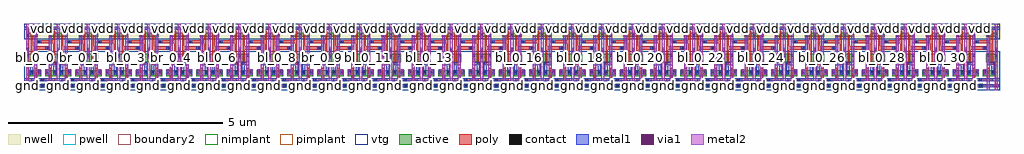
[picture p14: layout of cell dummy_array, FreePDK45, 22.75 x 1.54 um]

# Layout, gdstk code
import gdstk
lib = gdstk.Library(unit=1e-6, precision=5e-10)
def R(c, l, rs):  # rectangles x0, y0, x1, y1
    for r in rs: c.add(gdstk.rectangle(r[:2], r[2:], *l))
def A(c, l, x, y, w, h, nx, ny, dx, dy):  # array of equal rectangles
    R(c, l, [(x+i*dx, y+j*dy, x+i*dx+w, y+j*dy+h) for i in range(nx) for j in range(ny)])
active = (1, 0)
pwell = (2, 0)
nwell = (3, 0)
nimplant = (4, 0)
pimplant = (5, 0)
vtg = (6, 0)
poly = (9, 0)
contact = (10, 0)
metal1 = (11, 0)
via1 = (12, 0)
metal2 = (13, 0)
boundary2 = (239, 0)

dummy_cell_1rw = lib.new_cell('dummy_cell_1rw')
R(dummy_cell_1rw, active, [(0.3025,-0.045,0.3925,0.045), (0.3025,-0.045,0.3925,0.045), (0.045,0.2275,0.305,0.3625), (0.045,0.2275,0.12,0.3625), (0.045,0.2275,0.12,0.3625), (0.23,0.2275,0.305,0.3625), (0.23,0.2275,0.305,0.3625), (0.4,0.2275,0.66,0.3625), (0.4,0.2275,0.475,0.3625), (0.4,0.2275,0.475,0.3625), (0.585,0.2275,0.66,0.3625), (0.585,0.2275,0.66,0.3625), (0.045,0.2875,0.12,0.3625), (0.23,0.2875,0.305,0.3625), (0.4,0.2875,0.475,0.3625), (0.585,0.2875,0.66,0.3625), (-0.0375,0.5475,0.225,0.7525), (-0.0375,0.5475,0.04,0.7525), (-0.0375,0.5475,0.04,0.7525), (0.15,0.5475,0.225,0.7525), (0.15,0.5475,0.225,0.7525), (0.48,0.5475,0.7425,0.7525), (0.48,0.5475,0.555,0.7525), (0.48,0.5475,0.555,0.7525), (0.665,0.5475,0.7425,0.7525), (0.665,0.5475,0.7425,0.7525), (-0.0375,0.6775,0.0375,0.7525), (0.15,0.6775,0.225,0.7525), (0.48,0.6775,0.555,0.7525), (0.6675,0.6775,0.7425,0.7525), (-0.0375,1.1425,0.225,1.2325), (-0.0375,1.1425,0.04,1.2325), (-0.0375,1.1425,0.04,1.2325), (-0.0375,1.1425,0.04,1.2175), (0.15,1.1425,0.225,1.2175), (0.15,1.1425,0.225,1.2325), (0.15,1.1425,0.225,1.2325), (0.48,1.1425,0.555,1.2175), (0.48,1.1425,0.7425,1.2325), (0.48,1.1425,0.555,1.2325), (0.48,1.1425,0.555,1.2325), (0.665,1.1425,0.7425,1.2325), (0.665,1.1425,0.7425,1.2325), (0.6675,1.1425,0.7425,1.2175), (0.3025,1.3,0.3925,1.39), (0.3025,1.3,0.3925,1.39)])
R(dummy_cell_1rw, pwell, [(-0.0925,-0.1,0.7975,0.8075), (0.2475,-0.1,0.4475,0.1), (0.2475,-0.1,0.4475,0.1), (-0.01,0.1725,0.36,0.4175), (0.345,0.1725,0.715,0.4175), (-0.0925,0.4925,0.28,0.8075), (0.425,0.4925,0.7975,0.8075)])
R(dummy_cell_1rw, nwell, [(-0.0925,1.0875,0.28,1.2875), (-0.0925,1.0875,0.7975,1.445), (0.425,1.0875,0.7975,1.2875), (0.2475,1.245,0.4475,1.445), (0.2475,1.245,0.4475,1.445)])
R(dummy_cell_1rw, nimplant, [(0.045,0.2275,0.305,0.3625), (0.4,0.2275,0.66,0.3625), (-0.035,0.5475,0.225,0.7525), (0.48,0.5475,0.74,0.7525), (0.3025,1.3,0.3925,1.39), (0.3025,1.3,0.3925,1.39)])
R(dummy_cell_1rw, pimplant, [(0.3025,-0.045,0.3925,0.045), (-0.035,1.1425,0.225,1.2325), (0.48,1.1425,0.74,1.2325)])
R(dummy_cell_1rw, vtg, [(-0.09,-0.1,0.795,0.8075), (-0.01,0.1725,0.36,0.4175), (0.345,0.1725,0.715,0.4175), (-0.09,0.4925,0.28,0.8075), (0.425,0.4925,0.795,0.8075), (-0.09,1.0875,0.28,1.2875), (-0.09,1.0875,0.795,1.445), (0.425,1.0875,0.795,1.2875)])
R(dummy_cell_1rw, poly, [(0.07,0.1025,0.635,0.1775), (0.2975,0.1025,0.3725,0.1775), (0.15,0.1725,0.2,0.2275), (0.15,0.1725,0.2,0.4175), (0.505,0.1725,0.555,0.2275), (0.505,0.1725,0.555,0.4175), (0.15,0.3625,0.2,0.4175), (0.505,0.3625,0.555,0.4175), (0.07,0.4925,0.12,0.5475), (0.07,0.4925,0.12,0.8075), (0.585,0.4925,0.635,0.5475), (0.585,0.4925,0.635,0.8075), (0.07,0.7525,0.12,0.8075), (0.585,0.7525,0.635,0.8075), (0.07,0.8075,0.12,1.0875), (0.07,0.8075,0.12,1.0875), (0.585,0.8075,0.635,1.0875), (0.585,0.8075,0.635,1.0875), (0.07,0.8425,0.5025,0.9175), (0.4275,0.8425,0.5025,0.9175), (0.4275,0.8425,0.5025,0.9175), (0.2025,0.9925,0.2775,1.0675), (0.2025,0.9925,0.2775,1.0675), (0.2025,0.9925,0.635,1.0675), (0.07,1.0875,0.12,1.1425), (0.07,1.0875,0.12,1.2875), (0.585,1.0875,0.635,1.1425), (0.585,1.0875,0.635,1.2875), (0.07,1.2325,0.12,1.2875), (0.585,1.2325,0.635,1.2875)])
R(dummy_cell_1rw, contact, [(0.3175,-0.0325,0.3825,0.0325), (0.3175,-0.0325,0.3825,0.0325), (0.3025,0.1075,0.3675,0.1725), (0.05,0.2925,0.115,0.3575), (0.235,0.2925,0.3,0.3575), (0.405,0.2925,0.47,0.3575), (0.59,0.2925,0.655,0.3575), (-0.0325,0.6825,0.0325,0.7475), (0.155,0.6825,0.22,0.7475), (0.485,0.6825,0.55,0.7475), (0.6725,0.6825,0.7375,0.7475), (0.4325,0.8475,0.4975,0.9125), (0.4325,0.8475,0.4975,0.9125), (0.2075,0.9975,0.2725,1.0625), (0.2075,0.9975,0.2725,1.0625), (-0.0325,1.1475,0.0325,1.2125), (0.155,1.1475,0.22,1.2125), (0.485,1.1475,0.55,1.2125), (0.6725,1.1475,0.7375,1.2125), (0.315,1.3125,0.38,1.3775)])
R(dummy_cell_1rw, metal1, [(-0.09,-0.0325,0.795,0.0325), (-0.0675,-0.0325,0.0675,0.0325), (-0.0675,-0.0325,0.0675,0.0325), (0.285,-0.0325,0.42,0.0325), (0.285,-0.0325,0.42,0.0325), (0.6375,-0.0325,0.7725,0.0325), (0.6375,-0.0325,0.7725,0.0325), (0.6375,-0.0325,0.7725,0.0325), (0.6375,-0.0325,0.7725,0.0325), (-0.09,0.1075,0.795,0.1725), (-0.09,0.1075,0.795,0.1725), (-0.09,0.1075,0.795,0.1725), (0.2675,0.1075,0.4025,0.1725), (-0.085,0.11,-0.0325,0.1725), (0.62,0.11,0.6725,0.1725), (0.05,0.2575,0.115,0.3925), (0.05,0.2575,0.12,0.5475), (0.2225,0.2575,0.2875,0.3925), (0.235,0.2575,0.3,0.3925), (0.405,0.2575,0.47,0.3925), (0.4175,0.2575,0.4825,0.3925), (0.59,0.2575,0.655,0.3925), (0.59,0.2575,0.66,0.5475), (0.05,0.4825,0.22,0.5475), (0.155,0.4825,0.22,1.2225), (0.485,0.4825,0.66,0.5475), (0.485,0.4825,0.55,1.1125), (-0.035,0.6475,0.035,0.7825), (-0.035,0.6475,0.035,0.7825), (-0.03,0.6475,0.035,0.7825), (0.155,0.6475,0.22,0.7825), (0.485,0.6475,0.55,0.7825), (0.67,0.6475,0.735,0.7825), (0.67,0.6475,0.74,0.7825), (0.67,0.6475,0.74,0.7825), (0.67,0.6475,0.74,0.7825), (0.67,0.6475,0.74,0.7825), (0.67,0.6475,0.74,0.7825), (0.67,0.6475,0.74,0.7825), (-0.0325,0.75,0.0325,0.885), (-0.0325,0.75,0.0325,0.885), (-0.0325,0.75,0.0325,0.885), (-0.0325,0.75,0.0325,0.885), (-0.0325,0.75,0.0325,0.885), (-0.0325,0.75,0.0325,0.885), (0.6725,0.75,0.7375,0.885), (0.6725,0.75,0.7375,0.885), (0.6725,0.75,0.7375,0.885), (0.6725,0.75,0.7375,0.885), (0.6725,0.75,0.7375,0.885), (0.6725,0.75,0.7375,0.885), (0.6725,0.75,0.7375,0.885), (0.6725,0.75,0.7375,0.885), (0.6725,0.75,0.7375,0.885), (0.6725,0.75,0.7375,0.885), (0.6725,0.75,0.7375,0.885), (0.6725,0.75,0.7375,0.885), (0.6725,0.75,0.7375,0.885), (0.6725,0.75,0.7375,0.885), (0.6725,0.75,0.7375,0.885), (0.6725,0.75,0.7375,0.885), (0.6725,0.75,0.7375,0.885), (0.6725,0.75,0.7375,0.885), (0.6725,0.75,0.7375,0.885), (0.6725,0.75,0.7375,0.885), (0.6725,0.75,0.7375,0.885), (0.6725,0.75,0.7375,0.885), (0.6725,0.75,0.7375,0.885), (0.6725,0.75,0.7375,0.885), (0.3975,0.8475,0.5325,0.9125), (0.3975,0.8475,0.5325,0.9125), (0.1725,0.9975,0.3075,1.0625), (0.1725,0.9975,0.3075,1.0625), (-0.035,1.1125,0.035,1.3125), (-0.03,1.1125,0.035,1.2475), (0.155,1.1125,0.22,1.2475), (0.485,1.1125,0.55,1.2475), (0.67,1.1125,0.735,1.2475), (0.67,1.1125,0.74,1.3125), (0.67,1.1125,0.74,1.3125), (-0.09,1.3125,0.795,1.3775)])
R(dummy_cell_1rw, via1, [(-0.0325,-0.0325,0.0325,0.0325), (-0.0325,-0.0325,0.0325,0.0325), (0.6725,-0.0325,0.7375,0.0325), (0.6725,-0.0325,0.7375,0.0325), (0.6725,-0.0325,0.7375,0.0325), (0.6725,-0.0325,0.7375,0.0325), (-0.0325,0.785,0.0325,0.85), (-0.0325,0.785,0.0325,0.85), (-0.0325,0.785,0.0325,0.85), (-0.0325,0.785,0.0325,0.85), (-0.0325,0.785,0.0325,0.85), (-0.0325,0.785,0.0325,0.85), (0.6725,0.785,0.7375,0.85), (0.6725,0.785,0.7375,0.85), (0.6725,0.785,0.7375,0.85), (0.6725,0.785,0.7375,0.85), (0.6725,0.785,0.7375,0.85), (0.6725,0.785,0.7375,0.85), (0.6725,0.785,0.7375,0.85), (0.6725,0.785,0.7375,0.85), (0.6725,0.785,0.7375,0.85), (0.6725,0.785,0.7375,0.85), (0.6725,0.785,0.7375,0.85), (0.6725,0.785,0.7375,0.85), (0.6725,0.785,0.7375,0.85), (0.6725,0.785,0.7375,0.85), (0.6725,0.785,0.7375,0.85), (0.6725,0.785,0.7375,0.85), (0.6725,0.785,0.7375,0.85), (0.6725,0.785,0.7375,0.85), (0.6725,0.785,0.7375,0.85), (0.6725,0.785,0.7375,0.85), (0.6725,0.785,0.7375,0.85), (0.6725,0.785,0.7375,0.85), (0.6725,0.785,0.7375,0.85), (0.6725,0.785,0.7375,0.85), (0.315,1.3125,0.38,1.3775)])
R(dummy_cell_1rw, metal2, [(-0.035,-0.1,0.035,1.445), (0.15,-0.1,0.22,1.445), (0.15,-0.1,0.22,1.445), (0.15,-0.1,0.22,1.445), (0.485,-0.1,0.555,1.445), (0.485,-0.1,0.555,1.445), (0.485,-0.1,0.555,1.445), (0.67,-0.1,0.74,1.445), (-0.0675,-0.035,0.0675,0.035), (-0.0675,-0.035,0.0675,0.035), (-0.0675,-0.035,0.0675,0.035), (-0.0675,-0.035,0.0675,0.035), (0.6375,-0.035,0.7725,0.035), (0.6375,-0.035,0.7725,0.035), (0.6375,-0.035,0.7725,0.035), (0.6375,-0.035,0.7725,0.035), (0.4925,-0.0325,0.55,0.0275), (0.67,-0.0325,0.74,1.3775), (-0.03,-0.03,0.03,0.0275), (0.1575,-0.025,0.2125,0.0275), (0.675,-0.025,0.735,0.0325), (0.22,0.2575,0.29,0.3925), (0.415,0.2575,0.485,0.3925), (-0.035,0.75,0.035,0.885), (-0.035,0.75,0.035,0.885), (-0.035,0.75,0.035,0.885), (-0.035,0.75,0.035,0.885), (-0.035,0.75,0.035,0.885), (-0.035,0.75,0.035,0.885), (0.67,0.75,0.74,0.885), (0.67,0.75,0.74,0.885), (0.67,0.75,0.74,0.885), (0.67,0.75,0.74,0.885), (0.67,0.75,0.74,0.885), (0.67,0.75,0.74,0.885), (0.67,0.75,0.74,0.885), (0.67,0.75,0.74,0.885), (0.67,0.75,0.74,0.885), (0.67,0.75,0.74,0.885), (0.67,0.75,0.74,0.885), (0.67,0.75,0.74,0.885), (0.67,0.75,0.74,0.885), (0.67,0.75,0.74,0.885), (0.67,0.75,0.74,0.885), (0.67,0.75,0.74,0.885), (0.67,0.75,0.74,0.885), (0.67,0.75,0.74,0.885), (0.67,0.75,0.74,0.885), (0.67,0.75,0.74,0.885), (0.67,0.75,0.74,0.885), (0.67,0.75,0.74,0.885), (0.67,0.75,0.74,0.885), (0.67,0.75,0.74,0.885), (0.3125,1.2775,0.3825,1.4125), (0.3125,1.2775,0.3825,1.4125), (0.3125,1.2775,0.3825,1.4125)])
R(dummy_cell_1rw, boundary2, [(0,0,0.705,1.345)])
dummy_cell_1rw.add(gdstk.Label('vdd', (0.368,1.355), layer=13, texttype=0))
dummy_cell_1rw.add(gdstk.Label('gnd', (-0.0475,0.015), layer=13, texttype=0))
dummy_cell_1rw.add(gdstk.Label('br', (0.52,0.003), layer=13, texttype=0))
dummy_cell_1rw.add(gdstk.Label('bl', (0.19,0.003), layer=13, texttype=0))
dummy_cell_1rw.add(gdstk.Label('bl', (0.185,0.6725), layer=13, texttype=0))
dummy_cell_1rw.add(gdstk.Label('br', (0.52,0.6725), layer=13, texttype=0))
dummy_cell_1rw.add(gdstk.Label('vdd', (0.3475,1.345), layer=13, texttype=0))
dummy_cell_1rw.add(gdstk.Label('gnd', (0,0), layer=13, texttype=0))
dummy_cell_1rw.add(gdstk.Label('wl', (-0.05,0.147), layer=11, texttype=0))
dummy_cell_1rw.add(gdstk.Label('wl', (0.3525,0.14), layer=11, texttype=0))

dummy_array = lib.new_cell('dummy_array')
R(dummy_array, metal1, [(0,0.1075,22.56,0.1725)])
A(dummy_array, metal2, -0.0675, -0.035, 0.135, 0.07, 32, 1, 0.705, 0)
A(dummy_array, metal2, 0.3125, 1.2775, 0.07, 0.135, 32, 1, 0.705, 0)
R(dummy_array, metal2, [(0.15,0,0.22,1.345), (0.485,0,0.555,1.345), (0.855,0,0.925,1.345), (1.19,0,1.26,1.345), (1.56,0,1.63,1.345), (1.895,0,1.965,1.345), (2.265,0,2.335,1.345), (2.6,0,2.67,1.345), (2.97,0,3.04,1.345), (3.305,0,3.375,1.345), (3.675,0,3.745,1.345), (4.01,0,4.08,1.345), (4.38,0,4.45,1.345), (4.715,0,4.785,1.345), (5.085,0,5.155,1.345), (5.42,0,5.49,1.345), (5.79,0,5.86,1.345), (6.125,0,6.195,1.345), (6.495,0,6.565,1.345), (6.83,0,6.9,1.345), (7.2,0,7.27,1.345), (7.535,0,7.605,1.345), (7.905,0,7.975,1.345), (8.24,0,8.31,1.345), (8.61,0,8.68,1.345), (8.945,0,9.015,1.345), (9.315,0,9.385,1.345), (9.65,0,9.72,1.345), (10.02,0,10.09,1.345), (10.355,0,10.425,1.345), (10.725,0,10.795,1.345), (11.06,0,11.13,1.345), (11.43,0,11.5,1.345), (11.765,0,11.835,1.345), (12.135,0,12.205,1.345), (12.47,0,12.54,1.345), (12.84,0,12.91,1.345), (13.175,0,13.245,1.345), (13.545,0,13.615,1.345), (13.88,0,13.95,1.345), (14.25,0,14.32,1.345), (14.585,0,14.655,1.345), (14.955,0,15.025,1.345), (15.29,0,15.36,1.345), (15.66,0,15.73,1.345), (15.995,0,16.065,1.345), (16.365,0,16.435,1.345), (16.7,0,16.77,1.345), (17.07,0,17.14,1.345), (17.405,0,17.475,1.345), (17.775,0,17.845,1.345), (18.11,0,18.18,1.345), (18.48,0,18.55,1.345), (18.815,0,18.885,1.345), (19.185,0,19.255,1.345), (19.52,0,19.59,1.345), (19.89,0,19.96,1.345), (20.225,0,20.295,1.345), (20.595,0,20.665,1.345), (20.93,0,21,1.345), (21.3,0,21.37,1.345), (21.635,0,21.705,1.345), (22.005,0,22.075,1.345), (22.34,0,22.41,1.345)])
R(dummy_array, boundary2, [(0,0,22.56,1.345)])
dummy_array.add(gdstk.Reference(dummy_cell_1rw, (0,0)))
dummy_array.add(gdstk.Reference(dummy_cell_1rw, (0.705,0)))
dummy_array.add(gdstk.Reference(dummy_cell_1rw, (1.41,0)))
dummy_array.add(gdstk.Reference(dummy_cell_1rw, (2.115,0)))
dummy_array.add(gdstk.Reference(dummy_cell_1rw, (2.82,0)))
dummy_array.add(gdstk.Reference(dummy_cell_1rw, (3.525,0)))
dummy_array.add(gdstk.Reference(dummy_cell_1rw, (4.23,0)))
dummy_array.add(gdstk.Reference(dummy_cell_1rw, (4.935,0)))
dummy_array.add(gdstk.Reference(dummy_cell_1rw, (5.64,0)))
dummy_array.add(gdstk.Reference(dummy_cell_1rw, (6.345,0)))
dummy_array.add(gdstk.Reference(dummy_cell_1rw, (7.05,0)))
dummy_array.add(gdstk.Reference(dummy_cell_1rw, (7.755,0)))
dummy_array.add(gdstk.Reference(dummy_cell_1rw, (8.46,0)))
dummy_array.add(gdstk.Reference(dummy_cell_1rw, (9.165,0)))
dummy_array.add(gdstk.Reference(dummy_cell_1rw, (9.87,0)))
dummy_array.add(gdstk.Reference(dummy_cell_1rw, (10.575,0)))
dummy_array.add(gdstk.Reference(dummy_cell_1rw, (11.28,0)))
dummy_array.add(gdstk.Reference(dummy_cell_1rw, (11.985,0)))
dummy_array.add(gdstk.Reference(dummy_cell_1rw, (12.69,0)))
dummy_array.add(gdstk.Reference(dummy_cell_1rw, (13.395,0)))
dummy_array.add(gdstk.Reference(dummy_cell_1rw, (14.1,0)))
dummy_array.add(gdstk.Reference(dummy_cell_1rw, (14.805,0)))
dummy_array.add(gdstk.Reference(dummy_cell_1rw, (15.51,0)))
dummy_array.add(gdstk.Reference(dummy_cell_1rw, (16.215,0)))
dummy_array.add(gdstk.Reference(dummy_cell_1rw, (16.92,0)))
dummy_array.add(gdstk.Reference(dummy_cell_1rw, (17.625,0)))
dummy_array.add(gdstk.Reference(dummy_cell_1rw, (18.33,0)))
dummy_array.add(gdstk.Reference(dummy_cell_1rw, (19.035,0)))
dummy_array.add(gdstk.Reference(dummy_cell_1rw, (19.74,0)))
dummy_array.add(gdstk.Reference(dummy_cell_1rw, (20.445,0)))
dummy_array.add(gdstk.Reference(dummy_cell_1rw, (21.15,0)))
dummy_array.add(gdstk.Reference(dummy_cell_1rw, (21.855,0)))
dummy_array.add(gdstk.Label('bl_0_16', (11.465,0.6725), layer=13, texttype=0))
dummy_array.add(gdstk.Label('br_0_16', (11.8,0.6725), layer=13, texttype=0))
dummy_array.add(gdstk.Label('bl_0_17', (12.17,0.6725), layer=13, texttype=0))
dummy_array.add(gdstk.Label('br_0_17', (12.505,0.6725), layer=13, texttype=0))
dummy_array.add(gdstk.Label('bl_0_18', (12.875,0.6725), layer=13, texttype=0))
dummy_array.add(gdstk.Label('br_0_18', (13.21,0.6725), layer=13, texttype=0))
dummy_array.add(gdstk.Label('bl_0_19', (13.58,0.6725), layer=13, texttype=0))
dummy_array.add(gdstk.Label('br_0_19', (13.915,0.6725), layer=13, texttype=0))
dummy_array.add(gdstk.Label('bl_0_20', (14.285,0.6725), layer=13, texttype=0))
dummy_array.add(gdstk.Label('br_0_20', (14.62,0.6725), layer=13, texttype=0))
dummy_array.add(gdstk.Label('bl_0_21', (14.99,0.6725), layer=13, texttype=0))
dummy_array.add(gdstk.Label('br_0_21', (15.325,0.6725), layer=13, texttype=0))
dummy_array.add(gdstk.Label('bl_0_22', (15.695,0.6725), layer=13, texttype=0))
dummy_array.add(gdstk.Label('br_0_22', (16.03,0.6725), layer=13, texttype=0))
dummy_array.add(gdstk.Label('bl_0_23', (16.4,0.6725), layer=13, texttype=0))
dummy_array.add(gdstk.Label('br_0_23', (16.735,0.6725), layer=13, texttype=0))
dummy_array.add(gdstk.Label('bl_0_24', (17.105,0.6725), layer=13, texttype=0))
dummy_array.add(gdstk.Label('br_0_24', (17.44,0.6725), layer=13, texttype=0))
dummy_array.add(gdstk.Label('bl_0_25', (17.81,0.6725), layer=13, texttype=0))
dummy_array.add(gdstk.Label('br_0_25', (18.145,0.6725), layer=13, texttype=0))
dummy_array.add(gdstk.Label('bl_0_26', (18.515,0.6725), layer=13, texttype=0))
dummy_array.add(gdstk.Label('br_0_26', (18.85,0.6725), layer=13, texttype=0))
dummy_array.add(gdstk.Label('bl_0_27', (19.22,0.6725), layer=13, texttype=0))
dummy_array.add(gdstk.Label('br_0_27', (19.555,0.6725), layer=13, texttype=0))
dummy_array.add(gdstk.Label('bl_0_28', (19.925,0.6725), layer=13, texttype=0))
dummy_array.add(gdstk.Label('br_0_28', (20.26,0.6725), layer=13, texttype=0))
dummy_array.add(gdstk.Label('bl_0_29', (20.63,0.6725), layer=13, texttype=0))
dummy_array.add(gdstk.Label('br_0_29', (20.965,0.6725), layer=13, texttype=0))
dummy_array.add(gdstk.Label('bl_0_30', (21.335,0.6725), layer=13, texttype=0))
dummy_array.add(gdstk.Label('br_0_30', (21.67,0.6725), layer=13, texttype=0))
dummy_array.add(gdstk.Label('bl_0_31', (22.04,0.6725), layer=13, texttype=0))
dummy_array.add(gdstk.Label('br_0_31', (22.375,0.6725), layer=13, texttype=0))
dummy_array.add(gdstk.Label('vdd', (21.4975,1.345), layer=13, texttype=0))
dummy_array.add(gdstk.Label('vdd', (16.5625,1.345), layer=13, texttype=0))
dummy_array.add(gdstk.Label('vdd', (18.6775,1.345), layer=13, texttype=0))
dummy_array.add(gdstk.Label('vdd', (13.0375,1.345), layer=13, texttype=0))
dummy_array.add(gdstk.Label('vdd', (15.1525,1.345), layer=13, texttype=0))
dummy_array.add(gdstk.Label('vdd', (13.7425,1.345), layer=13, texttype=0))
dummy_array.add(gdstk.Label('vdd', (20.0875,1.345), layer=13, texttype=0))
dummy_array.add(gdstk.Label('vdd', (11.6275,1.345), layer=13, texttype=0))
dummy_array.add(gdstk.Label('vdd', (15.8575,1.345), layer=13, texttype=0))
dummy_array.add(gdstk.Label('vdd', (20.7925,1.345), layer=13, texttype=0))
dummy_array.add(gdstk.Label('vdd', (19.3825,1.345), layer=13, texttype=0))
dummy_array.add(gdstk.Label('vdd', (17.2675,1.345), layer=13, texttype=0))
dummy_array.add(gdstk.Label('vdd', (14.4475,1.345), layer=13, texttype=0))
dummy_array.add(gdstk.Label('vdd', (22.2025,1.345), layer=13, texttype=0))
dummy_array.add(gdstk.Label('vdd', (12.3325,1.345), layer=13, texttype=0))
dummy_array.add(gdstk.Label('vdd', (17.9725,1.345), layer=13, texttype=0))
dummy_array.add(gdstk.Label('bl_0_8', (5.825,0.6725), layer=13, texttype=0))
dummy_array.add(gdstk.Label('br_0_8', (6.16,0.6725), layer=13, texttype=0))
dummy_array.add(gdstk.Label('bl_0_9', (6.53,0.6725), layer=13, texttype=0))
dummy_array.add(gdstk.Label('br_0_9', (6.865,0.6725), layer=13, texttype=0))
dummy_array.add(gdstk.Label('bl_0_10', (7.235,0.6725), layer=13, texttype=0))
dummy_array.add(gdstk.Label('br_0_10', (7.57,0.6725), layer=13, texttype=0))
dummy_array.add(gdstk.Label('bl_0_11', (7.94,0.6725), layer=13, texttype=0))
dummy_array.add(gdstk.Label('br_0_11', (8.275,0.6725), layer=13, texttype=0))
dummy_array.add(gdstk.Label('bl_0_12', (8.645,0.6725), layer=13, texttype=0))
dummy_array.add(gdstk.Label('br_0_12', (8.98,0.6725), layer=13, texttype=0))
dummy_array.add(gdstk.Label('bl_0_13', (9.35,0.6725), layer=13, texttype=0))
dummy_array.add(gdstk.Label('br_0_13', (9.685,0.6725), layer=13, texttype=0))
dummy_array.add(gdstk.Label('bl_0_14', (10.055,0.6725), layer=13, texttype=0))
dummy_array.add(gdstk.Label('br_0_14', (10.39,0.6725), layer=13, texttype=0))
dummy_array.add(gdstk.Label('bl_0_15', (10.76,0.6725), layer=13, texttype=0))
dummy_array.add(gdstk.Label('br_0_15', (11.095,0.6725), layer=13, texttype=0))
dummy_array.add(gdstk.Label('vdd', (6.6925,1.345), layer=13, texttype=0))
dummy_array.add(gdstk.Label('bl_0_0', (0.185,0.6725), layer=13, texttype=0))
dummy_array.add(gdstk.Label('vdd', (0.3475,1.345), layer=13, texttype=0))
dummy_array.add(gdstk.Label('vdd', (2.4625,1.345), layer=13, texttype=0))
dummy_array.add(gdstk.Label('br_0_0', (0.52,0.6725), layer=13, texttype=0))
dummy_array.add(gdstk.Label('bl_0_1', (0.89,0.6725), layer=13, texttype=0))
dummy_array.add(gdstk.Label('br_0_1', (1.225,0.6725), layer=13, texttype=0))
dummy_array.add(gdstk.Label('bl_0_2', (1.595,0.6725), layer=13, texttype=0))
dummy_array.add(gdstk.Label('vdd', (8.8075,1.345), layer=13, texttype=0))
dummy_array.add(gdstk.Label('vdd', (1.7575,1.345), layer=13, texttype=0))
dummy_array.add(gdstk.Label('vdd', (3.1675,1.345), layer=13, texttype=0))
dummy_array.add(gdstk.Label('vdd', (5.2825,1.345), layer=13, texttype=0))
dummy_array.add(gdstk.Label('vdd', (7.3975,1.345), layer=13, texttype=0))
dummy_array.add(gdstk.Label('br_0_2', (1.93,0.6725), layer=13, texttype=0))
dummy_array.add(gdstk.Label('bl_0_3', (2.3,0.6725), layer=13, texttype=0))
dummy_array.add(gdstk.Label('br_0_3', (2.635,0.6725), layer=13, texttype=0))
dummy_array.add(gdstk.Label('bl_0_4', (3.005,0.6725), layer=13, texttype=0))
dummy_array.add(gdstk.Label('vdd', (10.9225,1.345), layer=13, texttype=0))
dummy_array.add(gdstk.Label('br_0_4', (3.34,0.6725), layer=13, texttype=0))
dummy_array.add(gdstk.Label('vdd', (10.2175,1.345), layer=13, texttype=0))
dummy_array.add(gdstk.Label('vdd', (5.9875,1.345), layer=13, texttype=0))
dummy_array.add(gdstk.Label('vdd', (9.5125,1.345), layer=13, texttype=0))
dummy_array.add(gdstk.Label('vdd', (4.5775,1.345), layer=13, texttype=0))
dummy_array.add(gdstk.Label('bl_0_5', (3.71,0.6725), layer=13, texttype=0))
dummy_array.add(gdstk.Label('vdd', (8.1025,1.345), layer=13, texttype=0))
dummy_array.add(gdstk.Label('br_0_5', (4.045,0.6725), layer=13, texttype=0))
dummy_array.add(gdstk.Label('vdd', (1.0525,1.345), layer=13, texttype=0))
dummy_array.add(gdstk.Label('bl_0_6', (4.415,0.6725), layer=13, texttype=0))
dummy_array.add(gdstk.Label('br_0_6', (4.75,0.6725), layer=13, texttype=0))
dummy_array.add(gdstk.Label('vdd', (3.8725,1.345), layer=13, texttype=0))
dummy_array.add(gdstk.Label('bl_0_7', (5.12,0.6725), layer=13, texttype=0))
dummy_array.add(gdstk.Label('br_0_7', (5.455,0.6725), layer=13, texttype=0))
dummy_array.add(gdstk.Label('gnd', (4.23,0), layer=13, texttype=0))
dummy_array.add(gdstk.Label('gnd', (7.755,0), layer=13, texttype=0))
dummy_array.add(gdstk.Label('gnd', (2.82,0), layer=13, texttype=0))
dummy_array.add(gdstk.Label('gnd', (2.115,0), layer=13, texttype=0))
dummy_array.add(gdstk.Label('gnd', (10.575,0), layer=13, texttype=0))
dummy_array.add(gdstk.Label('gnd', (5.64,0), layer=13, texttype=0))
dummy_array.add(gdstk.Label('gnd', (8.46,0), layer=13, texttype=0))
dummy_array.add(gdstk.Label('gnd', (1.41,0), layer=13, texttype=0))
dummy_array.add(gdstk.Label('gnd', (9.87,0), layer=13, texttype=0))
dummy_array.add(gdstk.Label('gnd', (0.705,0), layer=13, texttype=0))
dummy_array.add(gdstk.Label('gnd', (6.345,0), layer=13, texttype=0))
dummy_array.add(gdstk.Label('gnd', (7.05,0), layer=13, texttype=0))
dummy_array.add(gdstk.Label('gnd', (4.935,0), layer=13, texttype=0))
dummy_array.add(gdstk.Label('gnd', (0,0), layer=13, texttype=0))
dummy_array.add(gdstk.Label('gnd', (9.165,0), layer=13, texttype=0))
dummy_array.add(gdstk.Label('gnd', (3.525,0), layer=13, texttype=0))
dummy_array.add(gdstk.Label('gnd', (11.985,0), layer=13, texttype=0))
dummy_array.add(gdstk.Label('gnd', (15.51,0), layer=13, texttype=0))
dummy_array.add(gdstk.Label('gnd', (14.1,0), layer=13, texttype=0))
dummy_array.add(gdstk.Label('gnd', (17.625,0), layer=13, texttype=0))
dummy_array.add(gdstk.Label('gnd', (12.69,0), layer=13, texttype=0))
dummy_array.add(gdstk.Label('gnd', (21.15,0), layer=13, texttype=0))
dummy_array.add(gdstk.Label('gnd', (19.035,0), layer=13, texttype=0))
dummy_array.add(gdstk.Label('gnd', (11.28,0), layer=13, texttype=0))
dummy_array.add(gdstk.Label('gnd', (14.805,0), layer=13, texttype=0))
dummy_array.add(gdstk.Label('gnd', (21.855,0), layer=13, texttype=0))
dummy_array.add(gdstk.Label('gnd', (19.74,0), layer=13, texttype=0))
dummy_array.add(gdstk.Label('gnd', (16.92,0), layer=13, texttype=0))
dummy_array.add(gdstk.Label('gnd', (18.33,0), layer=13, texttype=0))
dummy_array.add(gdstk.Label('gnd', (13.395,0), layer=13, texttype=0))
dummy_array.add(gdstk.Label('gnd', (20.445,0), layer=13, texttype=0))
dummy_array.add(gdstk.Label('gnd', (16.215,0), layer=13, texttype=0))
dummy_array.add(gdstk.Label('wl_0_0', (11.28,0.14), layer=11, texttype=0))

lib.write_gds('dummy_array.gds')
